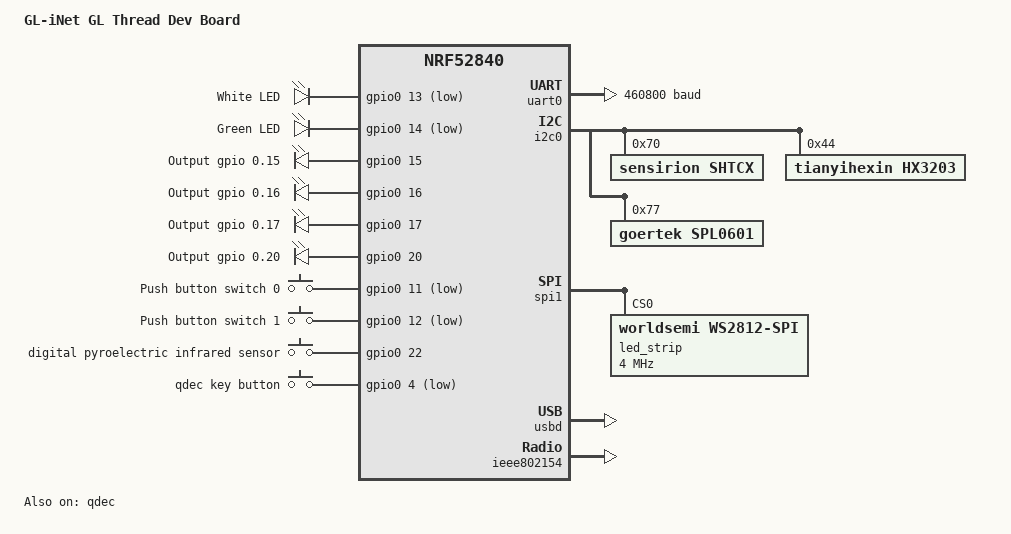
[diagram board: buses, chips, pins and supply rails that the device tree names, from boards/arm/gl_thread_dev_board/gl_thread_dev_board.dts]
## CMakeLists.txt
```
# SPDX-License-Identifier: Apache-2.0

list(APPEND BOARD_ROOT ${CMAKE_CURRENT_SOURCE_DIR})
list(APPEND ZEPHYR_EXTRA_MODULES ${CMAKE_CURRENT_SOURCE_DIR}/drivers/hx3203)
list(APPEND ZEPHYR_EXTRA_MODULES ${CMAKE_CURRENT_SOURCE_DIR}/drivers/spl0601)

cmake_minimum_required(VERSION 3.20.0)

find_package(Zephyr REQUIRED HINTS $ENV{ZEPHYR_BASE})
project(GLNRF52840DK)

# FILE(GLOB app_sources src/*.c)
aux_source_directory(${CMAKE_CURRENT_SOURCE_DIR}/src app_sources)
aux_source_directory(${CMAKE_CURRENT_SOURCE_DIR}/src/components/ot app_sources)
aux_source_directory(${CMAKE_CURRENT_SOURCE_DIR}/src/components/led app_sources)
aux_source_directory(${CMAKE_CURRENT_SOURCE_DIR}/src/components/sensor app_sources)
aux_source_directory(${CMAKE_CURRENT_SOURCE_DIR}/src/components/cjson app_sources)
aux_source_directory(${CMAKE_CURRENT_SOURCE_DIR}/src/components/led_strip app_sources)
aux_source_directory(${CMAKE_CURRENT_SOURCE_DIR}/src/components/qdec app_sources)
aux_source_directory(${CMAKE_CURRENT_SOURCE_DIR}/src/components/smp app_sources)
aux_source_directory(${CMAKE_CURRENT_SOURCE_DIR}/src/components/srp app_sources)
aux_source_directory(${CMAKE_CURRENT_SOURCE_DIR}/src/components/coap app_sources)
aux_source_directory(${CMAKE_CURRENT_SOURCE_DIR}/src/components/gpio app_sources)
aux_source_directory(${CMAKE_CURRENT_SOURCE_DIR}/src/components/battery app_sources)

include_directories(${CMAKE_CURRENT_SOURCE_DIR}/src)
include_directories(${CMAKE_CURRENT_SOURCE_DIR}/src/components/ot)
include_directories(${CMAKE_CURRENT_SOURCE_DIR}/src/components/led)
include_directories(${CMAKE_CURRENT_SOURCE_DIR}/src/components/sensor)
include_directories(${CMAKE_CURRENT_SOURCE_DIR}/src/components/cjson)
include_directories(${CMAKE_CURRENT_SOURCE_DIR}/src/components/led_strip)
include_directories(${CMAKE_CURRENT_SOURCE_DIR}/src/components/qdec)
include_directories(${CMAKE_CURRENT_SOURCE_DIR}/src/components/smp)
include_directories(${CMAKE_CURRENT_SOURCE_DIR}/src/components/srp)
include_directories(${CMAKE_CURRENT_SOURCE_DIR}/src/components/coap)
include_directories(${CMAKE_CURRENT_SOURCE_DIR}/src/components/gpio)
include_directories(${CMAKE_CURRENT_SOURCE_DIR}/src/components/battery)


# NORDIC SDK APP START
target_sources(app PRIVATE ${app_sources})
# NORDIC SDK APP END
```

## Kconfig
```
#
# Copyright (c) 2022 GL.iNET
#
#

config SPI
	default y
    
menu "Zephyr Kernel"
source "Kconfig.zephyr"
endmenu

module = GL_THREAD_DEV_BOARD
module-str = main
source "${ZEPHYR_BASE}/subsys/logging/Kconfig.template.log_config"

module = GL_SRP_UTILS
module-str = GL SRP utilities
source "${ZEPHYR_BASE}/subsys/logging/Kconfig.template.log_config"

module = GL_COAP_CLIENT
module-str = GL COAP CLIENT
source "${ZEPHYR_BASE}/subsys/logging/Kconfig.template.log_config"

module = GL_COAP_UTILS
module-str = GL COAP UTILS
source "${ZEPHYR_BASE}/subsys/logging/Kconfig.template.log_config"

module = GL_SMP_UDP
module-str = GL SMP UDP
source "${ZEPHYR_BASE}/subsys/logging/Kconfig.template.log_config"

module = GL_CJSON_UTILS
module-str = GL CJSON utilities
source "${ZEPHYR_BASE}/subsys/logging/Kconfig.template.log_config"

module = GL_OT_API
module-str = GL OT API
source "${ZEPHYR_BASE}/subsys/logging/Kconfig.template.log_config"

module = GL_SENSOR
module-str = GL SENSOR API
source "${ZEPHYR_BASE}/subsys/logging/Kconfig.template.log_config"

config SW_VERSION
    string
    prompt "SW VERSION"
	default "0.0.1"

config SENSOR_VALUE_AUTO_PRINT
	bool
    prompt "Sensor value auto print"
	default n
```

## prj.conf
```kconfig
CONFIG_GPIO_SHELL=n

# NEWLIB C
CONFIG_NEWLIB_LIBC=y
CONFIG_NEWLIB_LIBC_FLOAT_PRINTF=y

# CJSON
CONFIG_CJSON_LIB=y

# Enable logging
CONFIG_LOG=y
CONFIG_GL_SENSOR_LOG_LEVEL_DBG=y
CONFIG_GL_SMP_UDP_LOG_LEVEL_DBG=y

# Peripheral Support
CONFIG_DK_LIBRARY=y

# Network Protocols
CONFIG_COAP=y

CONFIG_I2C=y
CONFIG_SENSOR=y
# CONFIG_SENSOR_LOG_LEVEL_DBG=y
CONFIG_SHTCX=y
CONFIG_HX3203=y
CONFIG_SPL0601=y

# Network shell,need to disable when enable CONFIG_MCUMGR
# CONFIG_SHELL=y
# CONFIG_SHELL_LOG_LEVEL_DBG=y

# Network settings
CONFIG_NETWORKING=y
CONFIG_NET_SOCKETS=y
CONFIG_NET_SOCKETS_POSIX_NAMES=y
CONFIG_NET_SOCKETS_POLL_MAX=4

# Link layer options
CONFIG_NET_L2_OPENTHREAD=y
CONFIG_NET_LOG=n

# OpenThread stack features
CONFIG_OPENTHREAD_DEBUG=n
CONFIG_OPENTHREAD_L2_DEBUG=n
CONFIG_OPENTHREAD_L2_LOG_LEVEL_DBG=n
CONFIG_OPENTHREAD_COAP=y
CONFIG_OPENTHREAD_DNS_CLIENT=n
CONFIG_OPENTHREAD_LEGACY=y
CONFIG_OPENTHREAD_SLAAC=y
CONFIG_OPENTHREAD_JOINER=y
CONFIG_OPENTHREAD_SRP_CLIENT=y
CONFIG_OPENTHREAD_JOINER_AUTOSTART=y
CONFIG_OPENTHREAD_JOINER_PSKD="AAAAAA"
CONFIG_OPENTHREAD_FTD=y
CONFIG_OPENTHREAD_MTD=n
CONFIG_OPENTHREAD_MTD_SED=n
CONFIG_OPENTHREAD_CHANNEL=26
# CONFIG_OPENTHREAD_PANID=39033
# CONFIG_OPENTHREAD_NETWORKKEY="8f:3a:0d:3d:20:10:44:f8:30:10:4c:d1:8e:cb:97:bd"

# CONFIG_GL_SRP_UTILS_LOG_LEVEL_DBG=y
CONFIG_GL_COAP_CLIENT_LOG_LEVEL_DBG=y
# CONFIG_GL_SMP_UDP_LOG_LEVEL_DBG=y
# CONFIG_GL_CJSON_UTILS_LOG_LEVEL_DBG=y
CONFIG_GL_OT_API_LOG_LEVEL_DBG=y

# Enable mcumgr.
CONFIG_MCUMGR=y

# Some command handlers require a large stack.
CONFIG_SYSTEM_WORKQUEUE_STACK_SIZE=2304
CONFIG_MAIN_STACK_SIZE=10240

# Ensure an MCUboot-compatible binary is generated.
CONFIG_BOOTLOADER_MCUBOOT=y
CONFIG_MCUBOOT_UTIL_LOG_LEVEL_WRN=y
CONFIG_MCUBOOT_IMAGE_VERSION="1.2.2"
CONFIG_SW_VERSION="1.2.2"

# Required by the `taskstat` command.
CONFIG_THREAD_MONITOR=y

# Support for taskstat command
CONFIG_OS_MGMT_TASKSTAT=y

# Enable statistics and statistic names.
CONFIG_STATS=y
CONFIG_STATS_NAMES=y


# Enable most core commands.
CONFIG_MCUMGR_CMD_IMG_MGMT=y
CONFIG_MCUMGR_CMD_OS_MGMT=y
CONFIG_MCUMGR_CMD_STAT_MGMT=y
# Enable the serial mcumgr transport.
CONFIG_MCUMGR_SMP_UART=y #cannot enable with CONFIG_SHELL

CONFIG_NET_MGMT=n
CONFIG_MCUMGR_SMP_UDP=y
CONFIG_MCUMGR_SMP_UDP_IPV6=y
CONFIG_NET_IPV6=y

CONFIG_SPI=y

CONFIG_LED_STRIP=y
CONFIG_WS2812_STRIP=y

CONFIG_NRFX_QDEC=y
CONFIG_QDEC_NRFX=y

CONFIG_NEWLIB_LIBC_MIN_REQUIRED_HEAP_SIZE=2048
CONFIG_THREAD_NAME=y

CONFIG_SENSOR_VALUE_AUTO_PRINT=n

CONFIG_UART_MCUMGR_RX_BUF_SIZE=1024

CONFIG_IEEE802154_VENDOR_OUI_ENABLE=y

CONFIG_IEEE802154_VENDOR_OUI=9733060

CONFIG_OPENTHREAD_LOG_LEVEL_INFO=n

#Enable ADC
CONFIG_ADC=y
```

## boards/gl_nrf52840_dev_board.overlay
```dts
/*
 * Copyright (c) 2021-2022 Nordic Semiconductor ASA
 *
 * SPDX-License-Identifier: LicenseRef-Nordic-5-Clause
 */

/ {
	/*
	* In some default configurations within the nRF Connect SDK,
	* e.g. on nRF52840, the chosen zephyr,entropy node is &cryptocell.
	* This devicetree overlay ensures that default is overridden wherever it
	* is set, as this application uses the RNG node for entropy exclusively.
	*/

   	zephyr,user {
      	io-channels = <&adc 4>;
   	};


};

&adc {
	status = "okay";
};
```

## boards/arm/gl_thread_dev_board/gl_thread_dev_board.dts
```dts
/*******************************************************************************
 Copyright 2022 GL-iNet. https://www.gl-inet.com/

 Licensed under the Apache License, Version 2.0 (the "License");
 you may not use this file except in compliance with the License.
 You may obtain a copy of the License at
 
 http://www.apache.org/licenses/LICENSE-2.0
 
 Unless required by applicable law or agreed to in writing, software
 distributed under the License is distributed on an "AS IS" BASIS,
 WITHOUT WARRANTIES OR CONDITIONS OF ANY KIND, either express or implied.
 See the License for the specific language governing permissions and
 limitations under the License.
 ******************************************************************************/

/dts-v1/;
#include <nordic/nrf52840_qiaa.dtsi>
#include "gl_thread_dev_board-pinctrl.dtsi"
#include <dt-bindings/led/led.h>

	
/ {
	model = "GL-iNet GL Thread Dev Board";
	compatible = "gl-inet,gl-thread-dev-board";

	chosen {
		zephyr,console = &uart0;
		zephyr,shell-uart = &uart0;
		zephyr,uart-mcumgr = &uart0;
		zephyr,sram = &sram0;
		zephyr,flash = &flash0;
		zephyr,code-partition = &slot0_partition;
		zephyr,entropy = &rng;
		zephyr,ieee802154 = &ieee802154;
	};

	leds {
		compatible = "gpio-leds";
		led0: led_0 {
			gpios = <&gpio0 13 GPIO_ACTIVE_LOW>;
			label = "White LED";
		};
		led1: led_1 {
			gpios = <&gpio0 14 GPIO_ACTIVE_LOW>;
			label = "Green LED";
		};

		// led2: led_2 {
		// 	gpios = <&gpio0 15 GPIO_ACTIVE_HIGH>;
		// 	label = "Output gpio 0.15";
		// };
		// led3: led_3 {
		// 	gpios = <&gpio0 16 GPIO_ACTIVE_HIGH>;
		// 	label = "Output gpio 0.16";
		// };
		// led4: led_4 {
		// 	gpios = <&gpio0 17 GPIO_ACTIVE_HIGH>;
		// 	label = "Output gpio 0.17";
		// };
		// led5: led_5 {
		// 	gpios = <&gpio0 20 GPIO_ACTIVE_HIGH>;
		// 	label = "Output gpio 0.20";
		// };

	};

	glios{
		compatible = "gpio-leds";
		io0: io_0 {
			gpios = <&gpio0 15 GPIO_ACTIVE_HIGH>;
			label = "Output gpio 0.15";
		};
		io1: io_1 {
			gpios = <&gpio0 16 GPIO_ACTIVE_HIGH>;
			label = "Output gpio 0.16";
		};
		io2: io_2 {
			gpios = <&gpio0 17 GPIO_ACTIVE_HIGH>;
			label = "Output gpio 0.17";
		};
		io3: io_3 {
			gpios = <&gpio0 20 GPIO_ACTIVE_HIGH>;
			label = "Output gpio 0.20";
		};
	};

	buttons {
		compatible = "gpio-keys";
		button0: button_0 {
			gpios = <&gpio0 11 (GPIO_PULL_UP | GPIO_ACTIVE_LOW)>;
			label = "Push button switch 0";
		};
		button1: button_1 {
			gpios = <&gpio0 12 (GPIO_PULL_UP | GPIO_ACTIVE_LOW)>;
			label = "Push button switch 1";
		};
		button2: button_2 {
			gpios = <&gpio0 22 (GPIO_PULL_UP | GPIO_ACTIVE_HIGH)>;
			label = "digital pyroelectric infrared sensor";
		};
		button3: button_3 {
			gpios = <&gpio0 4 (GPIO_PULL_UP | GPIO_ACTIVE_LOW)>;
			label = "qdec key button";
		};
	};


	/* These aliases are provided for compatibility with samples */
	aliases {
		led0 = &led0;
		led1 = &led1;
		io0 = &io0;
		io1 = &io1;
		io2 = &io2;
		io3 = &io3;
		sw0 = &button0;
		sw1 = &button1;
		sw2 = &button2;
		sw3 = &button3;
		bootloader-led0 = &led0;
		led-strip = &led_strip;
		mcuboot-button0 = &button0;
		mcuboot-led0 = &led0;
		watchdog0 = &wdt0;
		qdec0 = &qdec;
	};
};

&adc {
	status = "disabled";
};

&gpiote {
	status = "okay";
};

&gpio0 {
	status = "okay";
};

&gpio1 {
	status = "okay";
};

&uart0 {
	compatible = "nordic,nrf-uarte";
	status = "okay";
	current-speed = <460800>;
	pinctrl-0 = <&uart0_default>;
	pinctrl-1 = <&uart0_sleep>;
	pinctrl-names = "default", "sleep";
};

&i2c0 {
	compatible = "nordic,nrf-twi";
	status = "okay";
	pinctrl-0 = <&i2c0_default>;
	pinctrl-1 = <&i2c0_sleep>;
	pinctrl-names = "default", "sleep";
	shtcx@70 {
		compatible = "sensirion,shtcx";
		reg = <0x70>;
		chip = "shtc3";
		measure-mode = "normal";
		clock-stretching;
	};
	hx3203@44 {
		compatible = "tianyihexin,hx3203";
		reg = <0x44>;
	};
	spl0601@77 {
		compatible = "goertek,spl0601";
		reg = <0x77>;
	};
};

&spi1 {
	compatible = "nordic,nrf-spim";
	status = "okay";
	pinctrl-0 = <&spi1_default>;
	pinctrl-1 = <&spi1_sleep>;
	pinctrl-names = "default", "sleep";
	led_strip: ws2812@0 {
		compatible = "worldsemi,ws2812-spi";
		// label = "WS2812";

		/* SPI */
		reg = <0>; /* ignored, but necessary for SPI bindings */
		spi-max-frequency = <4000000>;

		/* WS2812 */
		chain-length = <2>; /* arbitrary; change at will */
		color-mapping = <LED_COLOR_ID_GREEN
					LED_COLOR_ID_RED
					LED_COLOR_ID_BLUE>;
		spi-one-frame = <0x70>;
		spi-zero-frame = <0x40>;
	};

};

&flash0 {

	partitions {
		compatible = "fixed-partitions";
		#address-cells = <1>;
		#size-cells = <1>;

		boot_partition: partition@0 {
			label = "mcuboot";
			reg = <0x000000000 0x0000C000>;
		};
		slot0_partition: partition@c000 {
			label = "image-0";
			reg = <0x0000C000 0x00067000>;
		};
		slot1_partition: partition@73000 {
			label = "image-1";
			reg = <0x00073000 0x00067000>;
		};
		scratch_partition: partition@da000 {
			label = "image-scratch";
			reg = <0x000da000 0x0001e000>;
		};

		/*
		 * The flash starting at 0x000f8000 and ending at
		 * 0x000fffff is reserved for use by the application.
		 */

		/*
		 * Storage partition will be used by FCB/LittleFS/NVS
		 * if enabled.
		 */
		storage_partition: partition@f8000 {
			label = "storage";
			reg = <0x000f8000 0x00008000>;
		};
	};
};

zephyr_udc0: &usbd {
	compatible = "nordic,nrf-usbd";
	status = "okay";
};

&qdec {
	compatible = "nordic,nrf-qdec";
	status = "okay";
	// a-pin = <35>; /* P1.03 */
	// b-pin = <32>; /* P1.01 */
	// enable-pin = <23> ;
	// led-pin = <0xFFFFFFFF>;
	led-pre = <0>;
	steps = <60>; 
	pinctrl-0 = <&qdec_default>;
	pinctrl-1 = <&qdec_sleep>;
	pinctrl-names = "default", "sleep";
};

&ieee802154 {
	status = "okay";
};
```

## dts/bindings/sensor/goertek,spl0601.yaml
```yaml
# Copyright (c) 2020 Richard Osterloh
# SPDX-License-Identifier: Apache-2.0

description: |
    The SPL06-001 is a miniaturized Digital Barometric Air Pressure Sensor. https://datasheet.lcsc.com/lcsc/2101201914_Goertek-SPL06-001_C2684428.pdf

compatible: "goertek,spl0601"

include: i2c-device.yaml
```

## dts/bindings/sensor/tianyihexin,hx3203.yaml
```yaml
# Copyright (c) 2020 Richard Osterloh
# SPDX-License-Identifier: Apache-2.0

description: |
    Ambient light sensor. http://www.tianyihexin.com/chanpin/show.asp?id=14

compatible: "tianyihexin,hx3203"

include: i2c-device.yaml

properties:
    int-gpios:
      type: phandle-array
      required: false
      description: |
        The INT pin signals that a programmable interrupt function
        for ALS and PS with upper and lower thresholds has been
        triggered. The sensor generates an active-low level signal
        which remains asserted until the data is read.

    led-current:
      type: int
      required: false
      default: 50
      # default of 50 mA is POR (0b000) for PS_MS[LED_I] register
      description: LED current in mA
      enum:
        - 50
        - 75
        - 100
        - 120
        - 140
        - 160
        - 180
        - 200

    led-duty-cycle:
      type: int
      required: false
      default: 40
      # default of 40 Hz is POR (0b00) for PS_CONF1[PS_Duty] register
      description: LED duty cycle in Hz
      enum:
        - 40
        - 80
        - 160
        - 320

    als-it:
      type: int
      required: false
      default: 80
      # default of 80 is POR (0b00) for ALS_CONF[ALS_IT] register
      description: ALS integration time in ms
      enum:
        - 80
        - 160
        - 320
        - 640
```

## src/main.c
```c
/*****************************************************************************
 * @file   main.c
 * @brief  The start of application.
 *******************************************************************************
 Copyright 2022 GL-iNet. https://www.gl-inet.com/

 Licensed under the Apache License, Version 2.0 (the "License");
 you may not use this file except in compliance with the License.
 You may obtain a copy of the License at
 
 http://www.apache.org/licenses/LICENSE-2.0
 
 Unless required by applicable law or agreed to in writing, software
 distributed under the License is distributed on an "AS IS" BASIS,
 WITHOUT WARRANTIES OR CONDITIONS OF ANY KIND, either express or implied.
 See the License for the specific language governing permissions and
 limitations under the License.
 ******************************************************************************/

#include <zephyr/kernel.h>
#include <stdlib.h>
#include <dk_buttons_and_leds.h>
#include <zephyr/sys/printk.h>
#include <zephyr/logging/log.h>
#include <stdio.h>
#include <zephyr/drivers/i2c.h>
#include <zephyr/drivers/gpio.h>
#include <zephyr/drivers/pinctrl.h>
#include <zephyr/drivers/sensor.h>

#include <openthread/thread.h>
#include <openthread/instance.h>

#ifdef CONFIG_BOARD_NRF52840DONGLE_NRF52840
#include <drivers/uart.h>
#include <usb/usb_device.h>
#endif

#ifdef CONFIG_BOOTLOADER_MCUBOOT
#include <zephyr/dfu/mcuboot.h>
#endif
#ifdef CONFIG_MCUMGR_CMD_OS_MGMT
#include "os_mgmt/os_mgmt.h"
#endif
#ifdef CONFIG_MCUMGR_CMD_IMG_MGMT
#include "img_mgmt/img_mgmt.h"
#endif
#ifdef CONFIG_MCUMGR_CMD_STAT_MGMT
#include "stat_mgmt/stat_mgmt.h"
#endif
#ifdef CONFIG_MCUMGR_SMP_UDP
#include "gl_smp_udp.h"
#endif
#ifdef CONFIG_LED_STRIP
#include "gl_led_strip.h"
#endif

#include "gl_cjson_utils.h"
#include "gl_qdec.h"
#include "gl_gpio.h"
#include "gl_led.h"
#include "gl_coap.h"
#include "gl_ot_api.h"
#include "gl_sensor.h"
#include "gl_button_logic.h"
#include "gl_types.h"
#include "gl_battery.h"

LOG_MODULE_REGISTER(main, CONFIG_GL_THREAD_DEV_BOARD_LOG_LEVEL);


int joiner_state;


static void on_ot_connect(struct k_work *item)
{
	ARG_UNUSED(item);

	if (joiner_state != DEVICE_CONNECTED) {
		LOG_WRN("device connected.");
		joiner_state = DEVICE_CONNECTED;
		led_toggle_stop();
	}

	dk_set_led_on(LED2);
}

static void on_ot_disconnect(struct k_work *item)
{
	ARG_UNUSED(item);

	if (joiner_state != DEVICE_DISCONNECTED) {
		LOG_WRN("device disconnected.");
		joiner_state = DEVICE_DISCONNECTED;
		led_toggle_stop();
		led_toggle_start(1000);
	}

	dk_set_led_off(LED2);
}

static void on_mtd_mode_toggle(uint32_t med)
{
#if IS_ENABLED(CONFIG_PM_DEVICE)
	const struct device *cons = device_get_binding(CONSOLE_LABEL);

	if (med) {
		pm_device_action_run(cons, PM_DEVICE_ACTION_RESUME);
	} else {
		pm_device_action_run(cons, PM_DEVICE_ACTION_SUSPEND);
	}
#endif
	dk_set_led(LED2, med);
}

static struct k_work qdec_work;
#define DEF_ROTATION	(24)
static double rotation = 0;
static void qdec_trigger(struct k_work *item)
{
	ARG_UNUSED(item);

	if(rotation == 0)
	{
		return;
	}

	static double tmp_rotation = 0;
	tmp_rotation = rotation;
	rotation = 0;
	send_trigger_event_request(QDEC_ROTATE_TRIGGER, "qdec_0", (void*)&tmp_rotation);

}
void encoder_callback(const struct device *dev, const struct sensor_trigger *trigger)
{
	struct sensor_value val;

	sensor_sample_fetch(dev);
	sensor_channel_get(dev, SENSOR_CHAN_ROTATION, &val);

	printk("current %d.%d\r\n", val.val1, val.val2);

	if(val.val1 > 0)
	{
		if(rotation < 0)
		{
			rotation = 0;
		}
	}else{
		if(rotation > 0)
		{
			rotation = 0;
		}
	}
	rotation += val.val1;

	if(abs(rotation) >= DEF_ROTATION)
	{
		k_work_submit(&qdec_work);
	}
}

void print_version(void)
{
	printk("{\"Board\":\"%s\"}\n", CONFIG_BOARD);
	printk("{\"SW_Version\":\"%s\"}\n", CONFIG_SW_VERSION);
	printk("OpenThread Stack: %s\n", otGetVersionString());
	printk("OpenThread Mode: %s\n", ot_get_mode());
}

void simulation_click(uint32_t button)
{
	on_button_changed(0xFFFF, button);
	on_button_changed(0xFFFF, button);
}

void auto_join_commissioning_start()
{
	simulation_click(DK_BTN2_MSK);
}

void main(void)
{
	print_version();

	int ret;

#ifdef CONFIG_MCUMGR_CMD_OS_MGMT
	os_mgmt_register_group();
#endif
#ifdef CONFIG_MCUMGR_CMD_IMG_MGMT
	img_mgmt_register_group();
#endif
#ifdef CONFIG_MCUMGR_CMD_STAT_MGMT
	stat_mgmt_register_group();
#endif

	ret = gl_gpio_init();
	if (ret) {
		LOG_ERR("Could not initialize gpios, err code: %d", ret);
	}

	ret = dk_leds_init();
	if (ret) {
		LOG_ERR("Could not initialize leds, err code: %d", ret);
	}
	light_off();

	ret = dk_buttons_init(on_button_changed);
	if (ret) {
		LOG_ERR("Cannot init buttons (error: %d)", ret);
	}

	ret = battery_measure_enable(true);
	if (ret) {
		LOG_ERR("Could not initialize battery measurement, err code: %d", ret);
	}

#ifdef CONFIG_BOOTLOADER_MCUBOOT
	/* Check if the image is run in the REVERT mode and eventually
	 * confirm it to prevent reverting on the next boot.
	 */
	if (mcuboot_swap_type() == BOOT_SWAP_TYPE_REVERT) {
		if (boot_write_img_confirmed()) {
			LOG_ERR("Confirming firmware image failed, it will be reverted on the next boot.");
		} else {
			LOG_INF("New device firmware image confirmed.");
		}
	}
#endif

	joiner_state = DEVICE_INITIAL;

	gl_sensor_init();

	coap_client_utils_init(on_ot_connect, on_ot_disconnect, on_mtd_mode_toggle);
	// auto_commissioning_timer_init();
	auto_join_commissioning_start();

#ifdef CONFIG_SENSOR_VALUE_AUTO_PRINT
	debug_sensor_data();
#endif
	gl_led_strip_init();

	k_work_init(&qdec_work, qdec_trigger);
	gl_qdec_init(encoder_callback);

	return ;
}
```

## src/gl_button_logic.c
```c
/*****************************************************************************
 * @file  gl_button_logic.c
 * @brief Provides button related functions.
 *******************************************************************************
 Copyright 2022 GL-iNet. https://www.gl-inet.com/

 Licensed under the Apache License, Version 2.0 (the "License");
 you may not use this file except in compliance with the License.
 You may obtain a copy of the License at
 
 http://www.apache.org/licenses/LICENSE-2.0
 
 Unless required by applicable law or agreed to in writing, software
 distributed under the License is distributed on an "AS IS" BASIS,
 WITHOUT WARRANTIES OR CONDITIONS OF ANY KIND, either express or implied.
 See the License for the specific language governing permissions and
 limitations under the License.
 ******************************************************************************/

#include <zephyr/kernel.h>
#include <zephyr/drivers/gpio.h>
#include <zephyr/devicetree.h>
#include <zephyr/device.h>
#include <dk_buttons_and_leds.h>
#include <zephyr/logging/log.h>
#include <openthread/thread.h>

#include "gl_types.h"
#include "gl_led.h"
#include "gl_coap.h"
#include "gl_ot_api.h"
#include "gl_srp_utils.h"

LOG_MODULE_REGISTER(button_logic, CONFIG_GL_THREAD_DEV_BOARD_LOG_LEVEL);

#define SW0_NODE DT_ALIAS(sw0)
#define SW1_NODE DT_ALIAS(sw1)
const struct gpio_dt_spec SW1 = GPIO_DT_SPEC_GET_OR(SW0_NODE, gpios, { 0 });
const struct gpio_dt_spec SW2 = GPIO_DT_SPEC_GET_OR(SW1_NODE, gpios, { 0 });

extern int joiner_state;
uint32_t join_time_start;


void on_button_changed(uint32_t button_state, uint32_t has_changed)
{
	static bool is_sw2_press, is_sw2_release;
	static uint32_t sw2_time_start;
	uint32_t sw2_time_end = 0;

	static bool is_sw1_press, is_sw1_release;
	static uint32_t sw1_time_start;
	uint32_t sw1_time_end = 0;

	uint32_t buttons = button_state & has_changed;

	if(buttons & DK_BTN1_MSK) { // Press
		is_sw1_press = true;
		sw1_time_start = k_uptime_get_32();
	}else if (buttons & DK_BTN2_MSK) { // Press
		is_sw2_press = true;
		sw2_time_start = k_uptime_get_32();
	} 

	if (is_sw1_press) {
		if (gpio_pin_get_dt(&SW1) == 0) { // Release
			is_sw1_release = true;
			sw1_time_end = k_uptime_get_32();
		}
	}

	if (is_sw2_press) {
		if (gpio_pin_get_dt(&SW2) == 0) { // Release
			is_sw2_release = true;
			sw2_time_end = k_uptime_get_32();
		}
	}

	if (is_sw1_press && is_sw1_release) {
		printk("Button1\n");
		if ((sw1_time_end - sw1_time_start) < 300) { // update the status
			LOG_INF("Updating status...");
			coap_client_send_status();
			ot_print_network_info();
		} else { // Testing mode
			LOG_INF("Start testing mode...");
			start_testing_mode();
		}
		is_sw1_press = false;
		is_sw1_release = false;

	}else if (is_sw2_press && is_sw2_release) {
		printk("Button2\n");
		if ((sw2_time_end - sw2_time_start) < 300) { // Joining
			join_time_start = k_uptime_get_32();
			if (joiner_state != DEVICE_CONNECTED) {
				if (ot_start() == 0) {
					joiner_state = DEVICE_CONNECTING;
					led_toggle_start(200);
					LOG_INF("Joining start...");
				}
			}
			is_sw2_press = false;
			is_sw2_release = false;
		} else if ((sw2_time_end - sw2_time_start) > 3000) { // Factoryreset
			LOG_INF("Factoryreset start...");
#ifdef CONFIG_OPENTHREAD_SRP_CLIENT
			srp_utils_host_remove();
#endif
			k_sleep(K_MSEC(1000));
			ot_factoryreset();
		}
	} else if (buttons & DK_BTN3_MSK) {
		printk("Button3 Press\n");
		send_trigger_event_request(INFRARED_SENSOR_TRIGGER, "infra_0", "trigger");

	} else if (buttons & DK_BTN4_MSK) {
		printk("Button4 Press\n");

		send_trigger_event_request(QDEC_BUTTON_TRIGGER, "qdec_0", "trigger");
	}
}
```

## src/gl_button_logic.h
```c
/*****************************************************************************
 * @file  gl_button_logic.h
 * @brief The header file of gl_button_logic.c
 *******************************************************************************
 Copyright 2022 GL-iNet. https://www.gl-inet.com/

 Licensed under the Apache License, Version 2.0 (the "License");
 you may not use this file except in compliance with the License.
 You may obtain a copy of the License at
 
 http://www.apache.org/licenses/LICENSE-2.0
 
 Unless required by applicable law or agreed to in writing, software
 distributed under the License is distributed on an "AS IS" BASIS,
 WITHOUT WARRANTIES OR CONDITIONS OF ANY KIND, either express or implied.
 See the License for the specific language governing permissions and
 limitations under the License.
 ******************************************************************************/

#ifndef _GL_BUTTON_H_
#define _GL_BUTTON_H_

#include <zephyr/types.h>


void on_button_changed(uint32_t button_state, uint32_t has_changed);


#endif /* _GL_BUTTON_H_ */
```

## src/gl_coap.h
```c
/*****************************************************************************
 * @file  gl_coap.h
 * @brief The header file of gl_coap.c
 *******************************************************************************
 Copyright 2022 GL-iNet. https://www.gl-inet.com/

 Licensed under the Apache License, Version 2.0 (the "License");
 you may not use this file except in compliance with the License.
 You may obtain a copy of the License at
 
 http://www.apache.org/licenses/LICENSE-2.0
 
 Unless required by applicable law or agreed to in writing, software
 distributed under the License is distributed on an "AS IS" BASIS,
 WITHOUT WARRANTIES OR CONDITIONS OF ANY KIND, either express or implied.
 See the License for the specific language governing permissions and
 limitations under the License.
 ******************************************************************************/

#ifndef _GL_COAP_CLIENT_H_
#define _GL_COAP_CLIENT_H_

#include <stdbool.h>
#include <cJSON.h>
#include <cJSON_os.h>

#define COAP_PORT 5683


#define PROVISIONING_URI_PATH "provisioning"
#define STATUS_URI_PATH "status"
#define TRIGGER_REPO_URI_PATH "trigger"

#define TESTING_LIGHT_URI_PATH "testing_light"

typedef enum{
	INFRARED_SENSOR_TRIGGER = 1,
	QDEC_BUTTON_TRIGGER		= 2,
	QDEC_ROTATE_TRIGGER		= 3
}trigger_event_type_e;

/** @brief Type indicates function called when OpenThread connection
 *         is established.
 *
 * @param[in] item pointer to work item.
 */
typedef void (*ot_connection_cb_t)(struct k_work *item);

/** @brief Type indicates function called when OpenThread connection is ended.
 *
 * @param[in] item pointer to work item.
 */
typedef void (*ot_disconnection_cb_t)(struct k_work *item);

/** @brief Type indicates function called when the MTD modes are toggled.
 *
 * @param[in] val 1 if the MTD is in MED mode
 *                0 if the MTD is in SED mode
 */
typedef void (*mtd_mode_toggle_cb_t)(uint32_t val);

/** @brief Initialize CoAP client utilities.
 */
void coap_client_utils_init(ot_connection_cb_t on_connect, ot_disconnection_cb_t on_disconnect,
			    mtd_mode_toggle_cb_t on_toggle);



/** @brief Request for the CoAP server address to pair.
 *
 * @note Enable paring on the CoAP server to get the address.
 */
void coap_client_send_provisioning_request(void);

/** @brief Toggle SED to MED and MED to SED modes.
 *
 * @note Active when the device is working as Minimal Thread Device.
 */
void coap_client_toggle_minimal_sleepy_end_device(void);

void coap_client_send_status(void);

typedef int (*cmd_request_callback_t)(const char *json_str, cJSON* resp_obj);

void send_trigger_event_request(trigger_event_type_e event, char* obj, void* value);

void start_testing_mode(void);


#endif /* _GL_COAP_CLIENT_H_ */
```

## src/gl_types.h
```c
/*****************************************************************************
 * @file  gl_type.h
 * @brief Define various types.
 *******************************************************************************
 Copyright 2022 GL-iNet. https://www.gl-inet.com/

 Licensed under the Apache License, Version 2.0 (the "License");
 you may not use this file except in compliance with the License.
 You may obtain a copy of the License at
 
 http://www.apache.org/licenses/LICENSE-2.0
 
 Unless required by applicable law or agreed to in writing, software
 distributed under the License is distributed on an "AS IS" BASIS,
 WITHOUT WARRANTIES OR CONDITIONS OF ANY KIND, either express or implied.
 See the License for the specific language governing permissions and
 limitations under the License.
 ******************************************************************************/

#ifndef _GL_TYPES_H_
#define _GL_TYPES_H_

#ifndef ARRAY_SIZE
#define ARRAY_SIZE(x) (sizeof(x) / sizeof((x)[0]))
#endif

enum { 
    ERROR_CODE_UNKNOW = -3,
    ERROR_CODE_NO_BUFS = -2, 
    ERROR_CODE_INVALID_PARAMETER = -1, 
    ERROR_CODE_NONE = 0 
};

enum { 
    CONFIG_CMD_ON_OFF = 0, 
    CONFIG_CMD_UPGRADE, 
    CONFIG_CMD_FACTORYRESET, 
    CONFIG_CMD_REBOOT,
    CONFIG_CMD_CHANGE_COLOR,
    CONFIG_CMD_SET_GPIO,
    CONFIG_CMD_GET_LED_STATUS,
    CONFIG_CMD_GET_GPIO_STATUS,
    CONFIG_CMD_SET_REPORT_INTERVAL,
    CONFIG_CMD_SET_OT_MODE
};

enum { 
    CONFIG_OBJ_LED_STRIP_NODE_ALL = 0,
    CONFIG_OBJ_LED_STRIP_NODE_LEFT = 1,
    CONFIG_OBJ_LED_STRIP_NODE_RIGHT = 2   
};



enum { DEVICE_INITIAL = 0, DEVICE_CONNECTING = 1, DEVICE_CONNECTED = 2, DEVICE_DISCONNECTED = 3 };

#endif /* _GL_TYPES_H_ */
```
